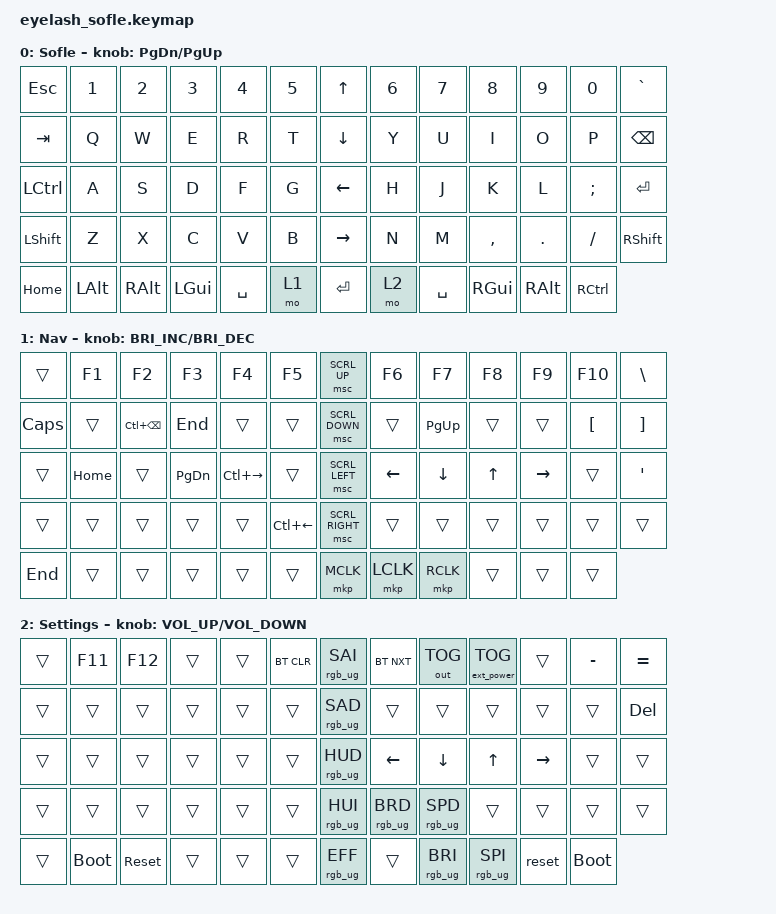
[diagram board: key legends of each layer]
#include <behaviors/mouse_keys.dtsi>
#include <dt-bindings/zmk/mouse.h>
#include <behaviors.dtsi>
#include <dt-bindings/zmk/bt.h>
#include <dt-bindings/zmk/ext_power.h>
#include <dt-bindings/zmk/keys.h>
#include <dt-bindings/zmk/outputs.h>
#include <dt-bindings/zmk/pointing.h>
#include <dt-bindings/zmk/rgb.h>

#define ZMK_MOUSE_DEFAULT_MOVE_VAL 1200  // 600
#define ZMK_MOUSE_DEFAULT_SCRL_VAL 25    // 10

// #define U_MS_U &mmv MOVE_UP
// #define U_MS_D &mmv MOVE_DOWN
// #define U_MS_L &mmv MOVE_LEFT
// #define U_MS_R &mmv MOVE_RIGHT

/ {
    behaviors {
        mmv {
            acceleration-exponent = <1>;      // 1
            time-to-max-speed-ms = <40>;    // 40
            delay-ms = <0>;                   // 0
        };

        msc {
            acceleration-exponent = <0>;      // 0
            time-to-max-speed-ms = <500>;      // 500
            delay-ms = <0>;                   //   10
        };
    };

    combos { compatible = "zmk,combos"; };

    scroll_encoder: scroll_encoder {
        compatible = "zmk,behavior-sensor-rotate";
        #sensor-binding-cells = <0>;
        bindings = <&msc SCRL_DOWN>, <&msc SCRL_UP>;

        tap-ms = <30>;
    };

    keymap {
        compatible = "zmk,keymap";

        default {
            bindings = <
&kp ESC    &kp N1        &kp N2         &kp N3        &kp N4     &kp N5    &kp UP_ARROW     &kp N6  &kp N7     &kp N8         &kp N9         &kp N0     &kp GRAVE
&kp TAB    &kp Q         &kp W          &kp E         &kp R      &kp T     &kp DOWN_ARROW   &kp Y   &kp U      &kp I          &kp O          &kp P      &kp BACKSPACE
&kp LCTRL  &kp A         &kp S          &kp D         &kp F      &kp G     &kp LEFT_ARROW   &kp H   &kp J      &kp K          &kp L          &kp SEMI   &kp RETURN
&kp LSHFT  &kp Z         &kp X          &kp C         &kp V      &kp B     &kp RIGHT_ARROW  &kp N   &kp M      &kp COMMA      &kp DOT        &kp FSLH   &kp RIGHT_SHIFT
&kp HOME   &kp LEFT_ALT  &kp RIGHT_ALT  &kp LEFT_GUI  &kp SPACE  &mo 1     &kp ENTER        &mo 2   &kp SPACE  &kp RIGHT_GUI  &kp RIGHT_ALT  &kp RCTRL
            >;

            sensor-bindings = <&inc_dec_kp PAGE_DOWN PG_UP>;
            display-name = "Sofle";
        };

        nav {
            bindings = <
&trans        &kp F1    &kp F2             &kp F3         &kp F4         &kp F5          &msc SCRL_UP     &kp F6     &kp F7     &kp F8  &kp F9     &kp F10           &kp BSLH
&kp CAPSLOCK  &trans    &kp LC(BACKSPACE)  &kp END        &trans         &trans          &msc SCRL_DOWN   &trans     &kp PG_UP  &trans  &trans     &kp LEFT_BRACKET  &kp RIGHT_BRACKET
&trans        &kp HOME  &trans             &kp PAGE_DOWN  &kp LC(RIGHT)  &trans          &msc SCRL_LEFT   &kp LEFT   &kp DOWN   &kp UP  &kp RIGHT  &trans            &kp APOS
&trans        &trans    &trans             &trans         &trans         &kp LC(LEFT)    &msc SCRL_RIGHT  &trans     &trans     &trans  &trans     &trans            &trans
&kp END       &trans    &trans             &trans         &trans         &trans          &mkp MCLK        &mkp LCLK  &mkp RCLK  &trans  &trans     &trans
            >;

            display-name = "Nav";
            sensor-bindings = <&inc_dec_kp C_BRIGHTNESS_INC C_BRIGHTNESS_DEC>;
        };

        settings {
            bindings = <
&trans  &kp F11      &kp F12     &trans  &trans  &bt BT_CLR    &rgb_ug RGB_SAI  &bt BT_NXT       &out OUT_TOG     &ext_power EP_TOG  &trans     &kp MINUS    &kp EQUAL
&trans  &trans       &trans      &trans  &trans  &trans        &rgb_ug RGB_SAD  &trans           &trans           &trans             &trans     &trans       &kp DELETE
&trans  &trans       &trans      &trans  &trans  &trans        &rgb_ug RGB_HUD  &kp LEFT         &kp DOWN         &kp UP             &kp RIGHT  &trans       &trans
&trans  &trans       &trans      &trans  &trans  &trans        &rgb_ug RGB_HUI  &rgb_ug RGB_BRD  &rgb_ug RGB_SPD  &trans             &trans     &trans       &trans
&trans  &bootloader  &sys_reset  &trans  &trans  &trans        &rgb_ug RGB_EFF  &trans           &rgb_ug RGB_BRI  &rgb_ug RGB_SPI    &reset     &bootloader
            >;

            display-name = "Settings";
            sensor-bindings = <&inc_dec_kp C_VOLUME_UP C_VOLUME_DOWN>;
        };
    };
};
